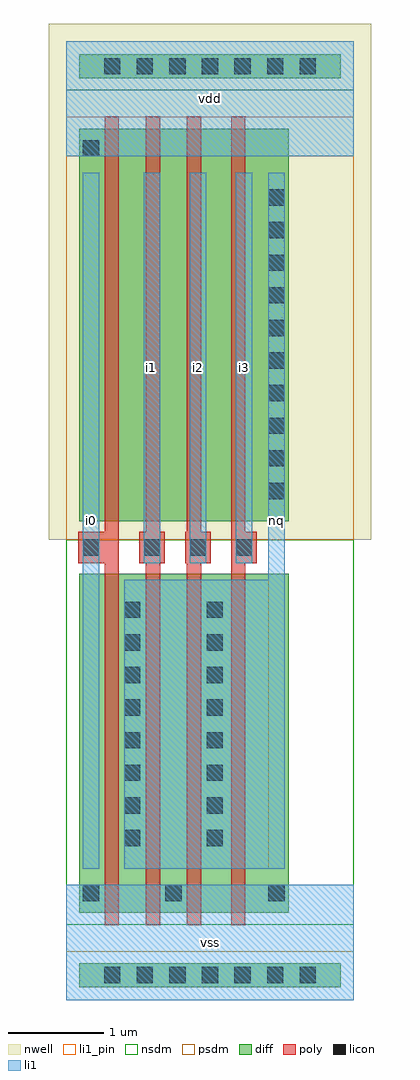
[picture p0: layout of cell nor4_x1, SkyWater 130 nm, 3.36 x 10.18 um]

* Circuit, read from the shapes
.subckt nor4_x1 i0 i1 i2 i3 nq vdd vss
XM1 nq i0 vss VSUBS sky130_fd_pr__nfet_01v8 w=3.535 l=0.15
XM2 vss i1 nq VSUBS sky130_fd_pr__nfet_01v8 w=3.535 l=0.15
XM3 nq i2 vss VSUBS sky130_fd_pr__nfet_01v8 w=3.535 l=0.15
XM4 vss i3 nq VSUBS sky130_fd_pr__nfet_01v8 w=3.535 l=0.15
XM5 n1 i0 vdd n2 sky130_fd_pr__pfet_01v8 w=4.095 l=0.15
XM6 n3 i1 n1 n2 sky130_fd_pr__pfet_01v8 w=4.095 l=0.15
XM7 n4 i2 n3 n2 sky130_fd_pr__pfet_01v8 w=4.095 l=0.15
XM8 nq i3 n4 n2 sky130_fd_pr__pfet_01v8 w=4.095 l=0.15
.ends

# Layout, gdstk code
import gdstk
lib = gdstk.Library(unit=1e-6, precision=1e-09)
def R(c, l, rs):  # rectangles x0, y0, x1, y1
    for r in rs: c.add(gdstk.rectangle(r[:2], r[2:], *l))
def A(c, l, x, y, w, h, nx, ny, dx, dy):  # array of equal rectangles
    R(c, l, [(x+i*dx, y+j*dy, x+i*dx+w, y+j*dy+h) for i in range(nx) for j in range(ny)])
def P(c, l, *ps):  # polygons
    for p in ps: c.add(gdstk.Polygon(p, *l))
nwell = (64, 20)
diff = (65, 20)
poly = (66, 20)
licon = (66, 44)
li1_pin = (67, 16)
li1 = (67, 20)
nsdm = (93, 44)
psdm = (94, 20)

nor4_x1 = lib.new_cell('nor4_x1')
R(nor4_x1, nwell, [(-0.18,4.8,3.18,10.18)])
R(nor4_x1, diff, [(0.135,0.135,2.865,0.385), (0.135,0.91,2.32,4.445), (0.135,4.995,2.32,9.09), (0.135,9.615,2.865,9.865)])
P(nor4_x1, poly, [(0.4,0.78),(0.4,4.555),(0.125,4.555),(0.125,4.885),(0.4,4.885),(0.4,9.22),(0.55,9.22),(0.55,0.78)],
  [(0.83,0.78),(0.83,4.555),(0.76,4.555),(0.76,4.885),(0.83,4.885),(0.83,9.22),(0.98,9.22),(0.98,4.885),(1.03,4.885),(1.03,4.555),(0.98,4.555),(0.98,0.78)],
  [(1.26,0.78),(1.26,4.555),(1.24,4.555),(1.24,4.885),(1.26,4.885),(1.26,9.22),(1.41,9.22),(1.41,4.885),(1.51,4.885),(1.51,4.555),(1.41,4.555),(1.41,0.78)],
  [(1.72,0.78),(1.72,9.22),(1.87,9.22),(1.87,4.885),(1.99,4.885),(1.99,4.555),(1.87,4.555),(1.87,0.78)])
A(nor4_x1, licon, 0.395, 0.175, 0.17, 0.17, 7, 2, 0.34, 9.48)
A(nor4_x1, licon, 0.605, 1.605, 0.17, 0.17, 1, 8, 0, 0.34)
A(nor4_x1, licon, 1.465, 1.605, 0.17, 0.17, 1, 8, 0, 0.34)
A(nor4_x1, licon, 0.81, 4.635, 0.17, 0.17, 3, 1, 0.48, 0)
A(nor4_x1, licon, 2.11, 5.225, 0.17, 0.17, 1, 10, 0, 0.34)
R(nor4_x1, licon, [(0.175,1.03,0.345,1.2), (1.035,1.03,1.205,1.2), (2.11,1.03,2.28,1.2), (0.175,4.635,0.345,4.805), (0.175,8.8,0.345,8.97)])
A(nor4_x1, li1_pin, 0.81, 4.555, 0.17, 4.075, 3, 1, 0.48, 0)
R(nor4_x1, li1_pin, [(0,0,3,1.2), (0.175,1.37,0.345,8.63), (2.11,1.37,2.28,8.63), (0,8.8,3,10)])
A(nor4_x1, li1, 0.81, 4.555, 0.17, 4.075, 3, 1, 0.48, 0)
R(nor4_x1, li1, [(0,0,3,1.2), (0.175,1.37,0.345,8.63), (0,8.8,3,10)])
P(nor4_x1, li1, [(0.605,1.37),(0.605,4.385),(2.11,4.385),(2.11,8.63),(2.28,8.63),(2.28,1.37)])
R(nor4_x1, nsdm, [(0,0.785,3,4.8), (0,9.49,3,10)])
R(nor4_x1, psdm, [(0,0,3,0.51), (0,4.8,3,9.215)])
nor4_x1.add(gdstk.Label('vss', (1.5,0.6), layer=67, texttype=16))
nor4_x1.add(gdstk.Label('vdd', (1.5,9.4), layer=67, texttype=16))
nor4_x1.add(gdstk.Label('nq', (2.195,5), layer=67, texttype=16))
nor4_x1.add(gdstk.Label('i0', (0.26,5), layer=67, texttype=16))
nor4_x1.add(gdstk.Label('i1', (0.895,6.593), layer=67, texttype=16))
nor4_x1.add(gdstk.Label('i2', (1.375,6.593), layer=67, texttype=16))
nor4_x1.add(gdstk.Label('i3', (1.855,6.593), layer=67, texttype=16))

lib.write_gds('nor4_x1.gds')
